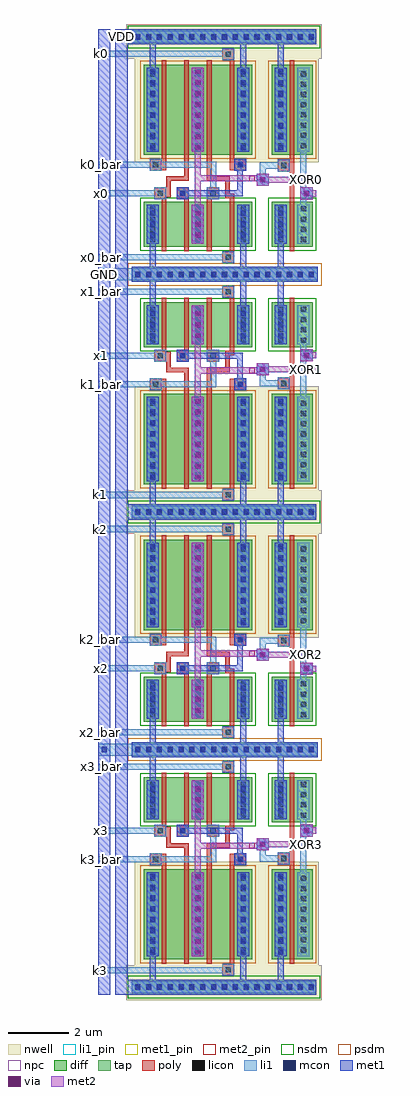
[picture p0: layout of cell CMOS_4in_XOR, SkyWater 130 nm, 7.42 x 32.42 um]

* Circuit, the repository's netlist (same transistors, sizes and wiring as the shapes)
* NGSPICE file created from CMOS_4in_XOR.ext - technology: sky130A

.subckt CMOS_XOR GND B A_bar A B_bar XOR VDD
X0 GND A_bar a_566_259# GND sky130_fd_pr__nfet_01v8 ad=1.8e+12p pd=8.4e+06u as=9e+11p ps=4.2e+06u w=1.5e+06u l=150000u
X1 a_266_869# B_bar VDD VDD sky130_fd_pr__pfet_01v8 ad=1.8e+12p pd=7.2e+06u as=3.6e+12p ps=1.44e+07u w=3e+06u l=150000u
X2 a_566_869# A_bar XOR VDD sky130_fd_pr__pfet_01v8 ad=1.8e+12p pd=7.2e+06u as=1.8e+12p ps=7.2e+06u w=3e+06u l=150000u
X3 a_266_259# A GND GND sky130_fd_pr__nfet_01v8 ad=9e+11p pd=4.2e+06u as=0p ps=0u w=1.5e+06u l=150000u
X4 XOR A a_266_869# VDD sky130_fd_pr__pfet_01v8 ad=0p pd=0u as=0p ps=0u w=3e+06u l=150000u
X5 a_566_259# B_bar XOR GND sky130_fd_pr__nfet_01v8 ad=0p pd=0u as=9e+11p ps=4.2e+06u w=1.5e+06u l=150000u
X6 VDD B a_566_869# VDD sky130_fd_pr__pfet_01v8 ad=0p pd=0u as=0p ps=0u w=3e+06u l=150000u
X7 XOR B a_266_259# GND sky130_fd_pr__nfet_01v8 ad=0p pd=0u as=0p ps=0u w=1.5e+06u l=150000u
.ends

.subckt CMOS_INV OUT A VDD GND
X0 OUT A GND GND sky130_fd_pr__nfet_01v8 ad=9e+11p pd=4.2e+06u as=9e+11p ps=4.2e+06u w=1.5e+06u l=150000u
X1 OUT A VDD VDD sky130_fd_pr__pfet_01v8 ad=1.8e+12p pd=7.2e+06u as=1.8e+12p ps=7.2e+06u w=3e+06u l=150000u
.ends

.subckt CMOS_4in_XOR GND VDD x0 x0_bar k0 k0_bar x1 x1_bar k1 k1_bar x2 x2_bar k2
+ k2_bar x3 x3_bar k3 k3_bar XOR1 XOR0 XOR2 XOR3 XOR0_bar XOR1_bar XOR2_bar XOR3_bar
XCMOS_XOR_1 GND k3 x3_bar x3 k3_bar XOR3 VDD CMOS_XOR
XCMOS_XOR_2 GND k1 x1_bar x1 k1_bar XOR1 VDD CMOS_XOR
XCMOS_XOR_3 GND k0 x0_bar x0 k0_bar XOR0 VDD CMOS_XOR
XCMOS_INV_0 XOR2_bar XOR2 VDD GND CMOS_INV
XCMOS_INV_1 XOR3_bar XOR3 VDD GND CMOS_INV
XCMOS_INV_2 XOR1_bar XOR1 VDD GND CMOS_INV
XCMOS_INV_3 XOR0_bar XOR0 VDD GND CMOS_INV
XCMOS_XOR_0 GND k2 x2_bar x2 k2_bar XOR2 VDD CMOS_XOR
.ends

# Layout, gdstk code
import gdstk
lib = gdstk.Library(unit=1e-6, precision=1e-09)
def R(c, l, rs):  # rectangles x0, y0, x1, y1
    for r in rs: c.add(gdstk.rectangle(r[:2], r[2:], *l))
def A(c, l, x, y, w, h, nx, ny, dx, dy):  # array of equal rectangles
    R(c, l, [(x+i*dx, y+j*dy, x+i*dx+w, y+j*dy+h) for i in range(nx) for j in range(ny)])
nwell = (64, 20)
diff = (65, 20)
tap = (65, 44)
poly = (66, 20)
licon = (66, 44)
li1_pin = (67, 16)
li1 = (67, 20)
mcon = (67, 44)
met1_pin = (68, 16)
met1 = (68, 20)
via = (68, 44)
met2_pin = (69, 16)
met2 = (69, 20)
nsdm = (93, 44)
psdm = (94, 20)
npc = (95, 20)

cmos_xor = lib.new_cell('CMOS_XOR')
R(cmos_xor, nwell, [(0.28,4.095,4.53,7.545), (0,7.545,4.76,8.695)])
R(cmos_xor, diff, [(0.58,1.295,4.18,2.795), (0.58,4.345,4.18,7.345)])
R(cmos_xor, tap, [(0.18,0.125,4.58,0.625), (0.18,8.015,4.58,8.515)])
A(cmos_xor, poly, 1.18, 1.145, 0.15, 1.725, 3, 1, 0.75, 0)
R(cmos_xor, poly, [(3.18,0.745,3.58,1.145), (3.43,1.145,3.58,2.905), (0.93,2.87,1.33,2.945), (1.68,2.87,2.08,3.27), (2.68,2.87,3.08,3.27), (3.29,2.905,3.58,3.055), (0.93,2.945,1.47,3.27), (3.29,3.055,3.44,3.48), (1.32,3.27,1.47,3.48), (1.32,3.48,2.08,3.63), (2.68,3.48,3.44,3.63), (1.93,3.63,2.08,7.495), (2.68,3.63,2.83,7.495), (0.78,3.825,1.18,3.84), (3.58,3.825,3.98,3.84), (0.78,3.84,1.33,4.225), (3.43,3.84,3.98,4.225), (1.18,4.225,1.33,7.495), (3.43,4.225,3.58,7.495), (3.18,7.495,3.58,7.895)])
A(cmos_xor, licon, 0.295, 0.29, 0.17, 0.17, 12, 2, 0.36, 7.89)
A(cmos_xor, licon, 0.795, 1.45, 0.17, 0.17, 3, 4, 1.5, 0.34)
A(cmos_xor, licon, 0.795, 4.57, 0.17, 0.17, 3, 8, 1.5, 0.34)
R(cmos_xor, licon, [(3.295,0.86,3.465,1.03), (1.045,2.985,1.215,3.155), (1.795,2.985,1.965,3.155), (2.795,2.985,2.965,3.155), (0.895,3.94,1.065,4.11), (3.695,3.94,3.865,4.11), (3.295,7.61,3.465,7.78)])
R(cmos_xor, li1_pin, [(3.295,0.86,3.465,1.03), (1.045,2.985,1.215,3.155), (0.865,3.9,1.11,4.135), (3.295,7.61,3.465,7.78)])
A(cmos_xor, li1, 0.68, 1.395, 0.4, 1.3, 3, 1, 1.5, 0)
A(cmos_xor, li1, 0.68, 4.445, 0.4, 2.8, 3, 1, 1.5, 0)
R(cmos_xor, li1, [(0.18,0.175,4.58,0.575), (3.18,0.745,3.58,1.145), (0.93,2.87,1.33,3.27), (1.68,2.87,2.08,3.27), (2.68,2.87,3.08,3.27), (2.78,3.27,2.98,3.925), (0.78,3.825,1.18,3.925), (3.58,3.825,3.98,4.225), (0.78,3.925,2.98,4.125), (0.78,4.125,1.18,4.225), (3.18,7.495,3.58,7.895), (0.18,8.065,4.58,8.465)])
A(cmos_xor, mcon, 0.295, 0.29, 0.17, 0.17, 12, 2, 0.36, 7.89)
A(cmos_xor, mcon, 0.795, 1.6, 0.17, 0.17, 3, 3, 1.5, 0.36)
A(cmos_xor, mcon, 0.795, 4.5, 0.17, 0.17, 3, 8, 1.5, 0.36)
R(cmos_xor, mcon, [(1.795,2.985,1.965,3.155), (3.695,3.94,3.865,4.11)])
R(cmos_xor, met1_pin, [(2.08,0.275,2.28,0.475), (2.08,8.165,2.28,8.365)])
A(cmos_xor, met1, 0.68, 1.395, 0.4, 1.3, 3, 1, 1.5, 0)
A(cmos_xor, met1, 0.68, 4.445, 0.4, 2.8, 3, 1, 1.5, 0)
R(cmos_xor, met1, [(0.18,0.125,4.58,0.625), (0.78,0.625,0.98,1.395), (3.78,0.625,3.98,1.395), (1.68,2.87,2.08,2.97), (1.68,2.97,3.875,3.17), (1.68,3.17,2.08,3.27), (3.68,3.17,3.875,3.825), (3.58,3.825,3.98,4.225), (0.78,7.245,0.98,8.015), (3.78,7.245,3.98,8.015), (0.18,8.015,4.58,8.515)])
A(cmos_xor, via, 2.305, 1.61, 0.15, 0.15, 1, 3, 0, 0.36)
A(cmos_xor, via, 2.305, 4.51, 0.15, 0.15, 1, 8, 0, 0.36)
R(cmos_xor, met2_pin, [(4.08,3.475,4.26,3.655)])
R(cmos_xor, met2, [(2.18,1.395,2.58,2.695), (2.28,2.695,2.48,3.465), (2.28,3.465,4.53,3.665), (2.28,3.665,2.48,4.445), (2.18,4.445,2.58,7.245)])
R(cmos_xor, nsdm, [(0.455,1.17,4.305,2.92), (0.055,7.89,4.705,8.64)])
R(cmos_xor, psdm, [(0.055,0,4.705,0.75), (0.455,4.22,4.305,7.47)])
R(cmos_xor, npc, [(3.195,0.76,3.565,1.13), (0.945,2.885,1.315,3.255), (1.695,2.885,2.065,3.255), (2.695,2.885,3.065,3.255), (0.795,3.84,1.165,4.21), (3.595,3.84,3.965,4.21), (3.195,7.51,3.565,7.88)])
cmos_xor.add(gdstk.Label('GND!', (2.18,0.375), layer=68, texttype=16))
cmos_xor.add(gdstk.Label('VDD', (2.18,8.265), layer=68, texttype=16))
cmos_xor.add(gdstk.Label('B', (3.38,7.695), layer=67, texttype=16))
cmos_xor.add(gdstk.Label('A_bar', (3.38,0.945), layer=67, texttype=16))
cmos_xor.add(gdstk.Label('A', (1.13,3.07), layer=67, texttype=16))
cmos_xor.add(gdstk.Label('B_bar', (0.987,4.017), layer=67, texttype=16))
cmos_xor.add(gdstk.Label('XOR', (4.17,3.565), layer=69, texttype=16))

cmos_inv = lib.new_cell('CMOS_INV')
R(cmos_inv, nwell, [(-0.73,-0.25,1.02,3.2), (-1.12,3.2,1.125,4.35)])
R(cmos_inv, diff, [(-0.53,-3.05,0.82,-1.55), (-0.53,0,0.82,3)])
R(cmos_inv, tap, [(-0.94,-4.22,1,-3.72), (-0.94,3.67,0.945,4.17)])
R(cmos_inv, poly, [(0.07,-3.2,0.22,-0.55), (-0.33,-0.55,0.22,-0.15), (0.07,-0.15,0.22,3.15)])
A(cmos_inv, licon, -0.75, -4.055, 0.17, 0.17, 5, 2, 0.36, 7.89)
A(cmos_inv, licon, -0.315, -2.895, 0.17, 0.17, 1, 4, 0, 0.34)
A(cmos_inv, licon, 0.435, -2.895, 0.17, 0.17, 1, 4, 0, 0.34)
A(cmos_inv, licon, -0.315, 0.225, 0.17, 0.17, 1, 8, 0, 0.34)
A(cmos_inv, licon, 0.435, 0.225, 0.17, 0.17, 1, 8, 0, 0.34)
R(cmos_inv, licon, [(-0.215,-0.435,-0.045,-0.265)])
R(cmos_inv, li1_pin, [(0.435,-0.91,0.605,-0.74), (-0.215,-0.435,-0.045,-0.265)])
R(cmos_inv, li1, [(-0.94,-4.17,1,-3.77), (-0.43,-2.95,-0.03,-1.65), (0.32,-2.95,0.72,-1.65), (0.42,-1.65,0.62,0.1), (-0.33,-0.55,0.07,-0.45), (-0.94,-0.45,0.07,-0.25), (-0.33,-0.25,0.07,-0.15), (-0.43,0.1,-0.03,2.9), (0.32,0.1,0.72,2.9), (-0.94,3.72,0.945,4.12)])
A(cmos_inv, mcon, -0.75, -4.055, 0.17, 0.17, 5, 2, 0.36, 7.89)
A(cmos_inv, mcon, -0.315, -2.745, 0.17, 0.17, 1, 3, 0, 0.36)
A(cmos_inv, mcon, -0.315, 0.155, 0.17, 0.17, 1, 8, 0, 0.36)
R(cmos_inv, met1_pin, [(-0.03,-4.055,0.14,-3.885), (-0.03,3.835,0.14,4.005)])
R(cmos_inv, met1, [(-0.94,-4.22,1,-3.72), (-0.33,-3.72,-0.13,-2.95), (-0.43,-2.95,-0.03,-1.65), (-0.43,0.1,-0.03,2.9), (-0.33,2.9,-0.13,3.67), (-0.94,3.67,0.945,4.17)])
R(cmos_inv, nsdm, [(-0.655,-3.175,0.945,-1.425), (-1.065,3.545,1.07,4.295)])
R(cmos_inv, psdm, [(-1.065,-4.345,1.125,-3.595), (-0.655,-0.125,0.945,3.125)])
R(cmos_inv, npc, [(-0.315,-0.535,0.055,-0.165)])
cmos_inv.add(gdstk.Label('GND', (0.055,-3.97), layer=68, texttype=16))
cmos_inv.add(gdstk.Label('VDD', (0.055,3.92), layer=68, texttype=16))
cmos_inv.add(gdstk.Label('OUT', (0.52,-0.825), layer=67, texttype=16))
cmos_inv.add(gdstk.Label('A', (-0.13,-0.35), layer=67, texttype=16))

cmos_4in_xor = lib.new_cell('CMOS_4in_XOR')
R(cmos_4in_xor, nwell, [(-12.53,-23.955,-12.425,-20.505), (-12.53,-13.065,-12.425,-9.615), (-12.53,-8.175,-12.425,-4.725), (-12.53,2.715,-12.425,6.165)])
R(cmos_4in_xor, li1_pin, [(-17.96,-24.16,-17.86,-24.06), (-17.95,-20.485,-17.85,-20.385), (-17.94,-19.53,-17.84,-19.43), (-17.94,-17.41,-17.84,-17.31), (-17.96,-16.265,-17.86,-16.165), (-17.935,-14.14,-17.835,-14.04), (-17.955,-13.185,-17.855,-13.085), (-17.96,-9.51,-17.86,-9.41), (-17.97,-8.38,-17.87,-8.28), (-17.945,-4.71,-17.845,-4.61), (-17.935,-3.745,-17.835,-3.645), (-17.94,-1.63,-17.84,-1.53), (-17.935,-0.485,-17.835,-0.385), (-17.93,1.645,-17.83,1.745), (-17.94,2.595,-17.84,2.695), (-17.94,6.275,-17.84,6.375)])
R(cmos_4in_xor, li1, [(-17.99,-24.21,-13.88,-24.01), (-17.99,-20.535,-16.28,-20.335), (-12.635,-20.305,-12.435,-20.135), (-12.735,-20.135,-12.335,-19.735), (-11.275,-19.675,-10.875,-19.275), (-17.99,-19.58,-16.13,-19.38), (-17.99,-17.455,-13.88,-17.255), (-17.99,-16.985,-16.88,-16.585), (-17.99,-16.315,-13.88,-16.115), (-11.275,-14.295,-10.875,-13.895), (-17.99,-14.19,-16.13,-13.99), (-12.735,-13.835,-12.335,-13.435), (-12.635,-13.435,-12.435,-13.265), (-17.99,-13.235,-16.28,-13.035), (-17.99,-9.56,-13.88,-9.36), (-17.99,-8.43,-13.88,-8.23), (-17.99,-4.755,-16.28,-4.555), (-12.635,-4.525,-12.435,-4.355), (-12.735,-4.355,-12.335,-3.955), (-11.275,-3.895,-10.875,-3.495), (-17.99,-3.8,-16.13,-3.6), (-17.99,-1.675,-13.88,-1.475), (-17.99,-1.205,-16.88,-0.805), (-17.99,-0.535,-13.88,-0.335), (-11.275,1.485,-10.875,1.885), (-17.99,1.59,-16.13,1.79), (-12.735,1.945,-12.335,2.345), (-12.635,2.345,-12.435,2.515), (-17.99,2.545,-16.28,2.745), (-17.99,6.22,-13.88,6.42)])
R(cmos_4in_xor, mcon, [(-12.62,-20.02,-12.45,-19.85), (-11.16,-19.56,-10.99,-19.39), (-17.875,-16.87,-17.705,-16.7), (-11.16,-14.18,-10.99,-14.01), (-12.62,-13.72,-12.45,-13.55), (-12.62,-4.24,-12.45,-4.07), (-11.16,-3.78,-10.99,-3.61), (-17.875,-1.09,-17.705,-0.92), (-11.16,1.6,-10.99,1.77), (-12.62,2.06,-12.45,2.23)])
R(cmos_4in_xor, met1_pin, [(-17.86,-1.07,-17.72,-0.935), (-17.31,6.8,-17.14,6.97)])
A(cmos_4in_xor, met1, -17.42, -24.925, 0.54, 0.5, 1, 3, 0, 15.78)
R(cmos_4in_xor, met1, [(-17.99,-24.925,-17.59,7.135), (-17.42,-24.425,-17.02,-9.145), (-12.735,-20.135,-12.335,-19.735), (-11.275,-19.675,-10.875,-19.275), (-11.275,-14.295,-10.875,-13.895), (-12.735,-13.835,-12.335,-13.435), (-17.42,-8.645,-17.02,6.635), (-12.735,-4.355,-12.335,-3.955), (-11.275,-3.895,-10.875,-3.495), (-11.275,1.485,-10.875,1.885), (-12.735,1.945,-12.335,2.345)])
R(cmos_4in_xor, via, [(-12.61,-20.01,-12.46,-19.86), (-11.15,-19.55,-11,-19.4), (-11.15,-14.17,-11,-14.02), (-12.61,-13.71,-12.46,-13.56), (-12.61,-4.23,-12.46,-4.08), (-11.15,-3.77,-11,-3.62), (-11.15,1.61,-11,1.76), (-12.61,2.07,-12.46,2.22)])
R(cmos_4in_xor, met2_pin, [(-11.16,-20.02,-10.99,-19.85), (-11.16,-19.56,-10.99,-19.39), (-11.16,-14.18,-10.99,-14.01), (-11.16,-13.72,-10.99,-13.55), (-11.16,-4.24,-10.99,-4.07), (-11.16,-3.78,-10.99,-3.61), (-11.16,1.6,-10.99,1.77), (-11.16,2.06,-10.99,2.23)])
R(cmos_4in_xor, met2, [(-12.735,-20.135,-12.335,-20.035), (-12.735,-20.035,-10.75,-19.835), (-12.735,-19.835,-12.335,-19.735), (-11.275,-19.675,-10.875,-19.575), (-11.275,-19.575,-10.75,-19.375), (-11.275,-19.375,-10.875,-19.275), (-11.275,-14.295,-10.875,-14.195), (-11.275,-14.195,-10.75,-13.995), (-11.275,-13.995,-10.875,-13.895), (-12.735,-13.835,-12.335,-13.735), (-12.735,-13.735,-10.75,-13.535), (-12.735,-13.535,-12.335,-13.435), (-12.735,-4.355,-12.335,-4.255), (-12.735,-4.255,-10.75,-4.055), (-12.735,-4.055,-12.335,-3.955), (-11.275,-3.895,-10.875,-3.795), (-11.275,-3.795,-10.75,-3.595), (-11.275,-3.595,-10.875,-3.495), (-11.275,1.485,-10.875,1.585), (-11.275,1.585,-10.75,1.785), (-11.275,1.785,-10.875,1.885), (-12.735,1.945,-12.335,2.045), (-12.735,2.045,-10.75,2.245), (-12.735,2.245,-12.335,2.345)])
cmos_4in_xor.add(gdstk.Reference(cmos_xor, (-17.06,-1.38)))
cmos_4in_xor.add(gdstk.Reference(cmos_xor, (-17.06,-0.63), x_reflection=True))
cmos_4in_xor.add(gdstk.Reference(cmos_xor, (-17.06,-16.41), x_reflection=True))
cmos_4in_xor.add(gdstk.Reference(cmos_xor, (-17.06,-17.16)))
cmos_4in_xor.add(gdstk.Reference(cmos_inv, (-11.695,2.965)))
cmos_4in_xor.add(gdstk.Reference(cmos_inv, (-11.695,-4.975), x_reflection=True))
cmos_4in_xor.add(gdstk.Reference(cmos_inv, (-11.695,-20.755), x_reflection=True))
cmos_4in_xor.add(gdstk.Reference(cmos_inv, (-11.695,-12.815)))
cmos_4in_xor.add(gdstk.Label('GND', (-17.79,-1.002), layer=68, texttype=16))
cmos_4in_xor.add(gdstk.Label('VDD', (-17.225,6.885), layer=68, texttype=16))
cmos_4in_xor.add(gdstk.Label('x0', (-17.88,1.695), layer=67, texttype=16))
cmos_4in_xor.add(gdstk.Label('x0_bar', (-17.885,-0.435), layer=67, texttype=16))
cmos_4in_xor.add(gdstk.Label('k0', (-17.89,6.325), layer=67, texttype=16))
cmos_4in_xor.add(gdstk.Label('k0_bar', (-17.89,2.645), layer=67, texttype=16))
cmos_4in_xor.add(gdstk.Label('x1', (-17.885,-3.695), layer=67, texttype=16))
cmos_4in_xor.add(gdstk.Label('x1_bar', (-17.89,-1.58), layer=67, texttype=16))
cmos_4in_xor.add(gdstk.Label('k1', (-17.92,-8.33), layer=67, texttype=16))
cmos_4in_xor.add(gdstk.Label('k1_bar', (-17.895,-4.66), layer=67, texttype=16))
cmos_4in_xor.add(gdstk.Label('x2', (-17.885,-14.09), layer=67, texttype=16))
cmos_4in_xor.add(gdstk.Label('x2_bar', (-17.91,-16.215), layer=67, texttype=16))
cmos_4in_xor.add(gdstk.Label('k2', (-17.91,-9.46), layer=67, texttype=16))
cmos_4in_xor.add(gdstk.Label('k2_bar', (-17.905,-13.135), layer=67, texttype=16))
cmos_4in_xor.add(gdstk.Label('x3', (-17.89,-19.48), layer=67, texttype=16))
cmos_4in_xor.add(gdstk.Label('x3_bar', (-17.89,-17.36), layer=67, texttype=16))
cmos_4in_xor.add(gdstk.Label('k3', (-17.91,-24.11), layer=67, texttype=16))
cmos_4in_xor.add(gdstk.Label('k3_bar', (-17.9,-20.435), layer=67, texttype=16))
cmos_4in_xor.add(gdstk.Label('XOR1', (-11.075,-4.155), layer=69, texttype=16))
cmos_4in_xor.add(gdstk.Label('XOR0', (-11.075,2.145), layer=69, texttype=16))
cmos_4in_xor.add(gdstk.Label('XOR2', (-11.075,-13.635), layer=69, texttype=16))
cmos_4in_xor.add(gdstk.Label('XOR3', (-11.075,-19.935), layer=69, texttype=16))
cmos_4in_xor.add(gdstk.Label('XOR0_bar', (-11.075,1.685), layer=69, texttype=16))
cmos_4in_xor.add(gdstk.Label('XOR1_bar', (-11.075,-3.695), layer=69, texttype=16))
cmos_4in_xor.add(gdstk.Label('XOR2_bar', (-11.075,-14.095), layer=69, texttype=16))
cmos_4in_xor.add(gdstk.Label('XOR3_bar', (-11.075,-19.475), layer=69, texttype=16))

lib.write_gds('CMOS_4in_XOR.gds')
